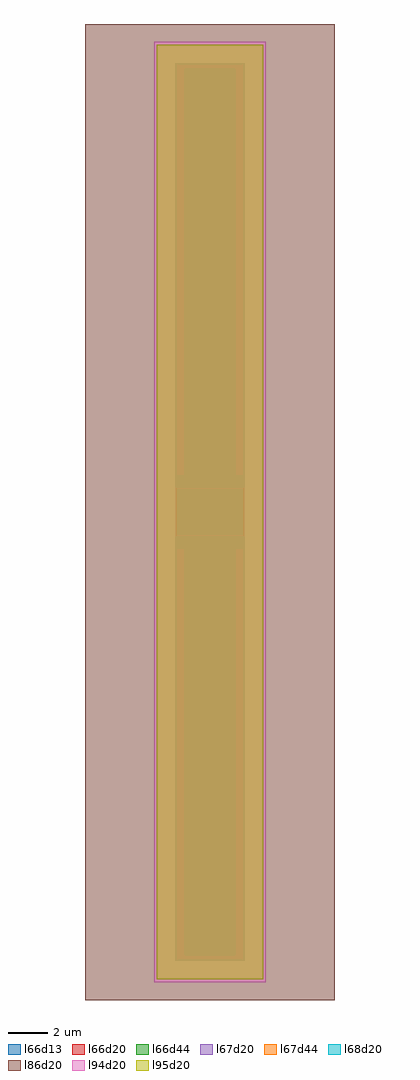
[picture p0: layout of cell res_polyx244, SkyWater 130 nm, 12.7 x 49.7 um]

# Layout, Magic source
magic
tech sky130a
<< l66d20 >>
rect -175 -2285 175 2285
<< l94d20 >>
rect -285 -2395 285 2395
<< l86d20 >>
rect -635 -2485 635 2485
<< l66d44 >>
rect -95 205 95 2205
rect -95 -2205 95 -205
<< l67d44 >>
rect -85 220 85 390
rect -85 580 85 750
rect -85 940 85 1110
rect -85 1300 85 1470
rect -85 1660 85 1830
rect -85 2020 85 2190
rect -85 -2185 85 -2015
rect -85 -1825 85 -1655
rect -85 -1465 85 -1295
rect -85 -1105 85 -935
rect -85 -745 85 -575
rect -85 -385 85 -215
<< l95d20 >>
rect -270 -2380 270 2380
<< l67d20 >>
rect -175 125 175 2285
rect -175 -2285 175 -125
<< l66d13 >>
rect -175 -185 175 185
<< l68d20 >>
rect -125 151 125 2255
rect -125 -2255 125 -151
<< end >>
